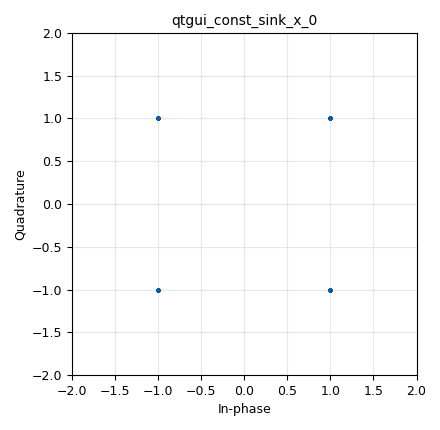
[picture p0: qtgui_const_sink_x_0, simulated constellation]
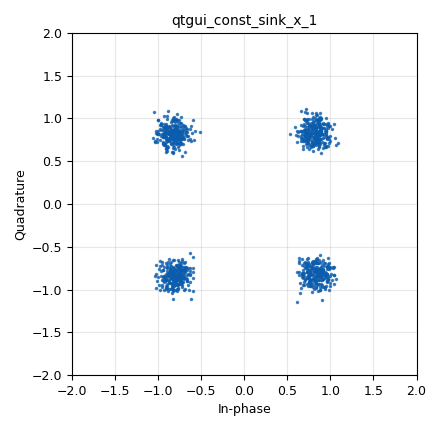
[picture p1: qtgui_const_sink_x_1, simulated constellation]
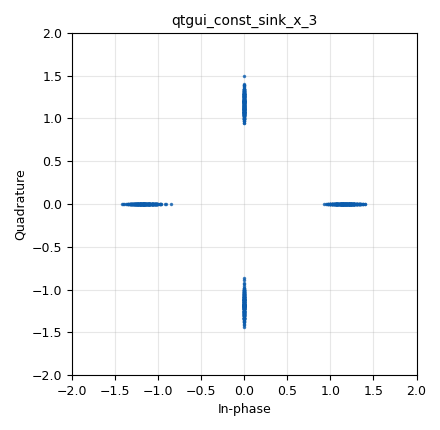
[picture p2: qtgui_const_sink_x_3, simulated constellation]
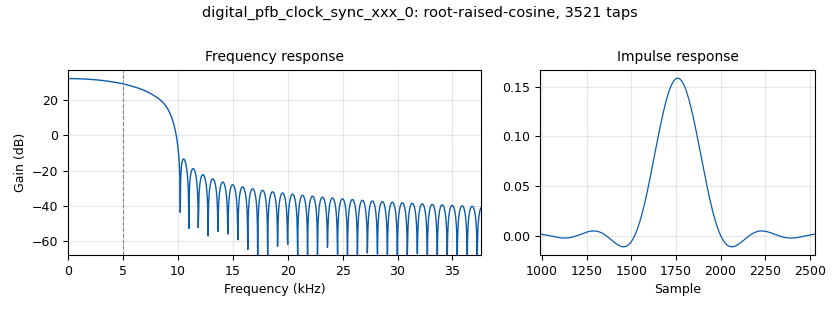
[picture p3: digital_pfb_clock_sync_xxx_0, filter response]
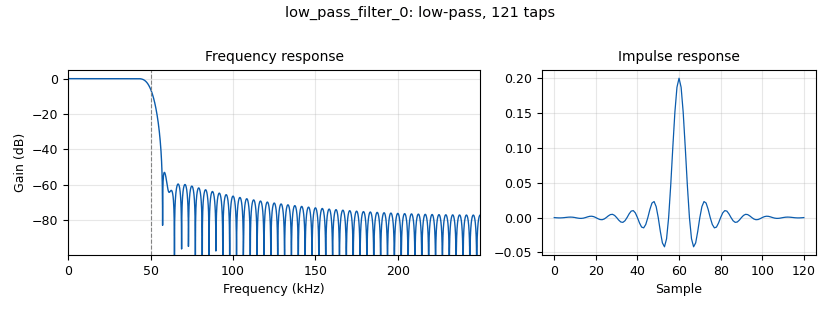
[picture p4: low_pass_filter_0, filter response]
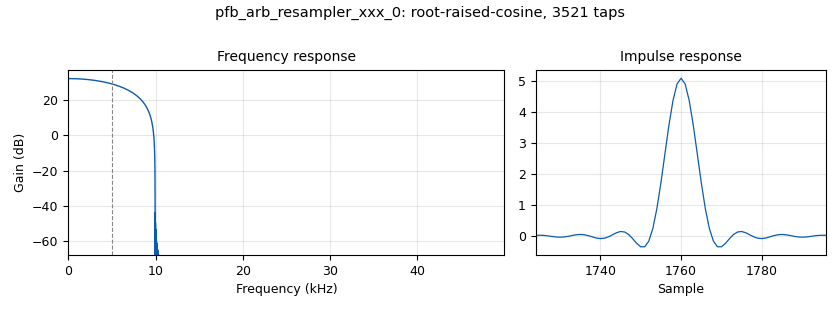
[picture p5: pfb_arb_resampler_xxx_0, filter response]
options:
  parameters:
    generate_options: qt_gui
    id: end_to_end
    output_language: python
    title: Not titled yet
  states: {}

blocks:
- name: noise
  id: variable_qtgui_range
  parameters:
    start: '0'
    step: '0.001'
    stop: '1'
    value: '0.5'
  states: {}
- name: quad_rate
  id: variable
  parameters:
    value: 5*samp_rate
  states: {}
- name: rx_taps
  id: variable
  parameters:
    value: firdes.root_raised_cosine(40, 32*samp_rate, symb_rate, 0.99, 11*sps*32)
  states: {}
- name: samp_rate
  id: variable
  parameters:
    value: symb_rate*sps
  states: {}
- name: sps
  id: variable
  parameters:
    value: '10'
  states: {}
- name: symb_rate
  id: variable
  parameters:
    value: '10000'
  states: {}
- name: tx_taps
  id: variable
  parameters:
    value: firdes.root_raised_cosine(40, samp_rate, symb_rate, 0.99, 11*sps*32)
  states: {}
- name: analog_noise_source_x_0
  id: analog_noise_source_x
  parameters:
    amp: noise
    noise_type: analog.GR_GAUSSIAN
    seed: '0'
    type: float
  states: {}
- name: analog_phase_modulator_fc_0
  id: analog_phase_modulator_fc
  parameters:
    sensitivity: '1'
  states: {}
- name: analog_random_source_x_0
  id: analog_random_source_x
  parameters:
    max: '4'
    min: '0'
    num_samps: '1000'
    repeat: 'True'
    type: byte
  states: {}
- name: analog_sig_source_x_0
  id: analog_sig_source_x
  parameters:
    amp: '1'
    freq: '100000'
    offset: '0'
    phase: '0'
    samp_rate: quad_rate
    type: complex
    waveform: analog.GR_COS_WAVE
  states: {}
- name: analog_sig_source_x_1
  id: analog_sig_source_x
  parameters:
    amp: '1'
    freq: '110000'
    offset: '0'
    phase: '0'
    samp_rate: quad_rate
    type: float
    waveform: analog.GR_COS_WAVE
  states: {}
- name: analog_sig_source_x_1_1
  id: analog_sig_source_x
  parameters:
    amp: '-1'
    freq: '110000'
    offset: '0'
    phase: '0'
    samp_rate: quad_rate
    type: float
    waveform: analog.GR_SIN_WAVE
  states: {}
- name: blocks_add_xx_0
  id: blocks_add_xx
  parameters:
    type: float
  states: {}
- name: blocks_add_xx_1
  id: blocks_add_xx
  parameters:
    type: float
  states: {}
- name: blocks_complex_to_arg_0
  id: blocks_complex_to_arg
  parameters: {}
  states: {}
- name: blocks_complex_to_arg_0_0
  id: blocks_complex_to_arg
  parameters: {}
  states: {}
- name: blocks_complex_to_real_0
  id: blocks_complex_to_real
  parameters: {}
  states: {}
- name: blocks_delay_0
  id: blocks_delay
  parameters:
    delay: int(quad_rate/symb_rate)
    type: float
  states: {}
- name: blocks_delay_1
  id: blocks_delay
  parameters:
    delay: '10'
    type: float
  states: {}
- name: blocks_exponentiate_const_cci_0
  id: blocks_exponentiate_const_cci
  parameters:
    exponent: '4'
  states: {}
- name: blocks_exponentiate_const_cci_0_0
  id: blocks_exponentiate_const_cci
  parameters:
    exponent: '4'
  states: {}
- name: blocks_float_to_complex_0
  id: blocks_float_to_complex
  parameters: {}
  states: {}
- name: blocks_multiply_conjugate_cc_0
  id: blocks_multiply_conjugate_cc
  parameters: {}
  states: {}
- name: blocks_multiply_const_vxx_0
  id: blocks_multiply_const_vxx
  parameters:
    const: '0.5'
    type: float
  states: {}
- name: blocks_multiply_const_vxx_1
  id: blocks_multiply_const_vxx
  parameters:
    const: '0.25'
    type: float
  states: {}
- name: blocks_multiply_const_vxx_1_0
  id: blocks_multiply_const_vxx
  parameters:
    const: '0.25'
    type: float
  states: {}
- name: blocks_multiply_xx_0
  id: blocks_multiply_xx
  parameters:
    type: complex
  states: {}
- name: blocks_multiply_xx_1
  id: blocks_multiply_xx
  parameters:
    type: float
  states: {}
- name: blocks_multiply_xx_1_0
  id: blocks_multiply_xx
  parameters:
    type: float
  states: {}
- name: blocks_multiply_xx_2
  id: blocks_multiply_xx
  parameters:
    type: complex
  states: {}
- name: blocks_throttle_0
  id: blocks_throttle
  parameters:
    samples_per_second: samp_rate
    type: float
  states: {state: bypassed}
- name: blocks_udp_sink_0
  id: blocks_udp_sink
  parameters:
    eof: 'True'
    ipaddr: 127.0.0.1
    port: '12345'
    psize: '1472'
    type: float
    vlen: '1'
  states: {}
- name: blocks_udp_source_0
  id: blocks_udp_source
  parameters:
    eof: 'True'
    ipaddr: 127.0.0.1
    port: '12345'
    psize: '1472'
    type: float
    vlen: '1'
  states: {}
- name: blocks_vco_c_0
  id: blocks_vco_c
  parameters:
    amplitude: '1'
    samp_rate: samp_rate
    sensitivity: '-1'
  states: {}
- name: constellations
  id: qtgui_tab_widget
  parameters:
    label0: Before Transmission
    label1: After CMA Equalization
    label2: After Costas Loop
    label3: After Viterbi-Viterbi Algorithm
    num_tabs: '4'
  states: {}
- name: digital_chunks_to_symbols_xx_0
  id: digital_chunks_to_symbols_xx
  parameters:
    dimension: '1'
    in_type: byte
    out_type: complex
    symbol_table: ((1+1j),(1-1j),(-1-1j),(-1+1j))
  states: {}
- name: digital_cma_equalizer_cc_0
  id: digital_cma_equalizer_cc
  parameters:
    modulus: '1.414'
    mu: '5000e-6'
    num_taps: '4'
    sps: '1'
  states: {}
- name: digital_pfb_clock_sync_xxx_0
  id: digital_pfb_clock_sync_xxx
  parameters:
    filter_size: '32'
    init_phase: '16'
    loop_bw: 2*3.14159653/100
    max_dev: '1.5'
    osps: '1'
    sps: sps
    taps: rx_taps
    type: ccf
  states: {}
- name: iir_filter_xxx_0
  id: iir_filter_xxx
  parameters:
    fbtaps: '[1,1]'
    fftaps: '[1.0001, -1]'
    type: ffd
  states: {}
- name: low_pass_filter_0
  id: low_pass_filter
  parameters:
    cutoff_freq: '50000'
    gain: '1'
    interp: '1'
    samp_rate: quad_rate
    type: interp_fir_filter_fff
    width: '10000'
    win: window.WIN_HAMMING
  states: {}
- name: low_pass_filter_0_0
  id: low_pass_filter
  parameters:
    cutoff_freq: '50000'
    gain: '1'
    interp: '1'
    samp_rate: quad_rate
    type: interp_fir_filter_fff
    width: '10000'
    win: window.WIN_HAMMING
  states: {}
- name: pfb_arb_resampler_xxx_0
  id: pfb_arb_resampler_xxx
  parameters:
    atten: '100'
    nfilts: '32'
    rrate: sps
    taps: tx_taps
    type: ccf
  states: {}
- name: qtgui_const_sink_x_0
  id: qtgui_const_sink_x
  parameters:
    gui_hint: constellations@0
    size: '1024'
    type: complex
  states: {}
- name: qtgui_const_sink_x_1
  id: qtgui_const_sink_x
  parameters:
    gui_hint: constellations@1
    size: '1024'
    type: complex
  states: {}
- name: qtgui_const_sink_x_2
  id: qtgui_const_sink_x
  parameters:
    gui_hint: constellations@2
    size: '1024'
    type: complex
  states: {}
- name: qtgui_const_sink_x_3
  id: qtgui_const_sink_x
  parameters:
    gui_hint: constellations@3
    size: '1024'
    type: complex
  states: {}
- name: rational_resampler_xxx_0
  id: rational_resampler_xxx
  parameters:
    decim: '1'
    interp: int(quad_rate/samp_rate)
    type: ccc
  states: {}
- name: rational_resampler_xxx_1
  id: rational_resampler_xxx
  parameters:
    decim: int(quad_rate/samp_rate)
    interp: '1'
    type: ccc
  states: {}
- name: virtual_sink_0
  id: virtual_sink
  parameters:
    stream_id: tx_out
  states: {}
- name: virtual_sink_1
  id: virtual_sink
  parameters:
    stream_id: rx_in
  states: {}
- name: virtual_sink_2
  id: virtual_sink
  parameters:
    stream_id: equalization_out
  states: {}
- name: virtual_source_0
  id: virtual_source
  parameters:
    stream_id: tx_out
  states: {}
- name: virtual_source_1
  id: virtual_source
  parameters:
    stream_id: rx_in
  states: {}
- name: virtual_source_2
  id: virtual_source
  parameters:
    stream_id: equalization_out
  states: {}
- name: virtual_source_2_0
  id: virtual_source
  parameters:
    stream_id: equalization_out
  states: {}

connections:
- [analog_noise_source_x_0, '0', blocks_add_xx_1, '0']
- [analog_phase_modulator_fc_0, '0', blocks_multiply_conjugate_cc_0, '1']
- [analog_random_source_x_0, '0', digital_chunks_to_symbols_xx_0, '0']
- [analog_sig_source_x_0, '0', blocks_multiply_xx_0, '1']
- [analog_sig_source_x_1, '0', blocks_multiply_xx_1, '0']
- [analog_sig_source_x_1_1, '0', blocks_multiply_xx_1_0, '1']
- [blocks_add_xx_0, '0', virtual_sink_1, '0']
- [blocks_add_xx_1, '0', blocks_throttle_0, '0']
- [blocks_complex_to_arg_0, '0', blocks_udp_sink_0, '0']
- [blocks_complex_to_arg_0_0, '0', blocks_multiply_const_vxx_1_0, '0']
- [blocks_complex_to_real_0, '0', blocks_add_xx_1, '1']
- [blocks_delay_0, '0', blocks_multiply_const_vxx_0, '0']
- [blocks_delay_1, '0', blocks_multiply_const_vxx_1, '0']
- [blocks_exponentiate_const_cci_0, '0', blocks_complex_to_arg_0, '0']
- [blocks_exponentiate_const_cci_0_0, '0', blocks_complex_to_arg_0_0, '0']
- [blocks_float_to_complex_0, '0', rational_resampler_xxx_1, '0']
- [blocks_multiply_conjugate_cc_0, '0', qtgui_const_sink_x_3, '0']
- [blocks_multiply_const_vxx_0, '0', blocks_add_xx_0, '1']
- [blocks_multiply_const_vxx_1, '0', iir_filter_xxx_0, '0']
- [blocks_multiply_const_vxx_1_0, '0', analog_phase_modulator_fc_0, '0']
- [blocks_multiply_xx_0, '0', blocks_complex_to_real_0, '0']
- [blocks_multiply_xx_1, '0', low_pass_filter_0, '0']
- [blocks_multiply_xx_1_0, '0', low_pass_filter_0_0, '0']
- [blocks_multiply_xx_2, '0', blocks_exponentiate_const_cci_0, '0']
- [blocks_multiply_xx_2, '0', qtgui_const_sink_x_2, '0']
- [blocks_throttle_0, '0', virtual_sink_0, '0']
- [blocks_udp_source_0, '0', blocks_delay_1, '0']
- [blocks_vco_c_0, '0', blocks_multiply_xx_2, '1']
- [digital_chunks_to_symbols_xx_0, '0', pfb_arb_resampler_xxx_0, '0']
- [digital_chunks_to_symbols_xx_0, '0', qtgui_const_sink_x_0, '0']
- [digital_cma_equalizer_cc_0, '0', qtgui_const_sink_x_1, '0']
- [digital_cma_equalizer_cc_0, '0', virtual_sink_2, '0']
- [digital_pfb_clock_sync_xxx_0, '0', digital_cma_equalizer_cc_0, '0']
- [iir_filter_xxx_0, '0', blocks_vco_c_0, '0']
- [low_pass_filter_0, '0', blocks_float_to_complex_0, '0']
- [low_pass_filter_0_0, '0', blocks_float_to_complex_0, '1']
- [pfb_arb_resampler_xxx_0, '0', rational_resampler_xxx_0, '0']
- [rational_resampler_xxx_0, '0', blocks_multiply_xx_0, '0']
- [rational_resampler_xxx_1, '0', digital_pfb_clock_sync_xxx_0, '0']
- [virtual_source_0, '0', blocks_add_xx_0, '0']
- [virtual_source_0, '0', blocks_delay_0, '0']
- [virtual_source_1, '0', blocks_multiply_xx_1, '1']
- [virtual_source_1, '0', blocks_multiply_xx_1_0, '0']
- [virtual_source_2, '0', blocks_multiply_xx_2, '0']
- [virtual_source_2_0, '0', blocks_exponentiate_const_cci_0_0, '0']
- [virtual_source_2_0, '0', blocks_multiply_conjugate_cc_0, '0']

metadata:
  file_format: 1
  grc_version: 3.9.8.0-rc1
